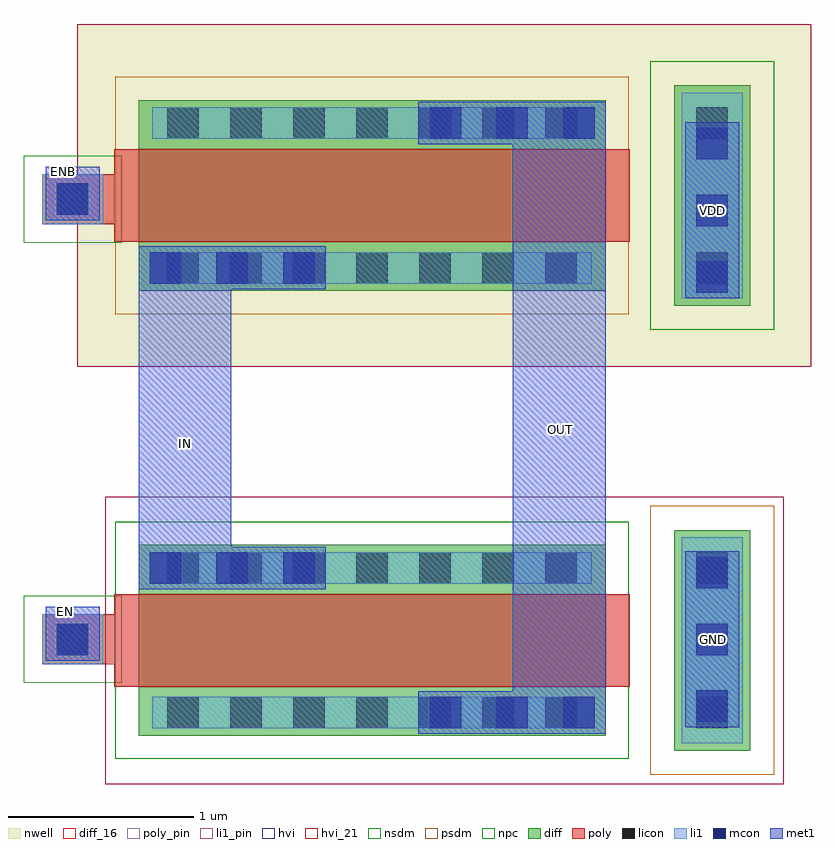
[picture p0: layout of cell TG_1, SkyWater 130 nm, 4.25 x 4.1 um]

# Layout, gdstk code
from math import pi, radians
import gdstk
lib = gdstk.Library(unit=1e-6, precision=1e-09)
def R(c, l, rs):  # rectangles x0, y0, x1, y1
    for r in rs: c.add(gdstk.rectangle(r[:2], r[2:], *l))
def A(c, l, x, y, w, h, nx, ny, dx, dy):  # array of equal rectangles
    R(c, l, [(x+i*dx, y+j*dy, x+i*dx+w, y+j*dy+h) for i in range(nx) for j in range(ny)])
nwell = (64, 20)
diff_16 = (65, 16)
diff = (65, 20)
poly_pin = (66, 16)
poly = (66, 20)
licon = (66, 44)
li1_pin = (67, 16)
li1 = (67, 20)
mcon = (67, 44)
met1 = (68, 20)
hvi = (75, 20)
hvi_21 = (75, 21)
nsdm = (93, 44)
psdm = (94, 20)
npc = (95, 20)

nmos_v5_cdns_71447679297 = lib.new_cell('nmos_v5_CDNS_714476792970')
R(nmos_v5_cdns_71447679297, diff_16, [(-0.265,0,0,2.52), (0.5,0,0.765,2.52)])
R(nmos_v5_cdns_71447679297, diff, [(-0.265,0,0.765,2.52)])
R(nmos_v5_cdns_71447679297, poly_pin, [(0,-0.13,0.5,0), (0,2.52,0.5,2.65)])
R(nmos_v5_cdns_71447679297, poly, [(0,-0.13,0.5,2.65)])
A(nmos_v5_cdns_71447679297, licon, -0.225, 0.155, 0.17, 0.17, 1, 7, 0, 0.34)
A(nmos_v5_cdns_71447679297, licon, 0.555, 0.155, 0.17, 0.17, 1, 7, 0, 0.34)
R(nmos_v5_cdns_71447679297, licon, [(-0.225,3.01,-0.055,3.18), (0.555,3.01,0.725,3.18)])
R(nmos_v5_cdns_71447679297, li1_pin, [(-0.305,2.93,0.805,3.26)])
R(nmos_v5_cdns_71447679297, hvi, [(-0.525,-0.18,1.025,3.48)])
R(nmos_v5_cdns_71447679297, hvi_21, [(-0.525,-0.18,1.025,3.48)])
R(nmos_v5_cdns_71447679297, nsdm, [(-0.39,-0.125,0.89,2.645)])
nmos_v5_cdns_71447679297.add(gdstk.FlexPath([(-0.345,3.095),(0.845,3.095)], 0.41, ends="flush", simple_path=True, layer=65, datatype=20))  # diff
nmos_v5_cdns_71447679297.add(gdstk.FlexPath([(0.64,0.075),(0.64,2.445)], 0.17, ends="flush", simple_path=True, layer=67, datatype=20))  # li1
nmos_v5_cdns_71447679297.add(gdstk.FlexPath([(-0.14,0.075),(-0.14,2.445)], 0.17, ends="flush", simple_path=True, layer=67, datatype=20))  # li1
nmos_v5_cdns_71447679297.add(gdstk.FlexPath([(-0.305,3.095),(0.805,3.095)], 0.33, ends="flush", simple_path=True, layer=67, datatype=20))  # li1
nmos_v5_cdns_71447679297.add(gdstk.FlexPath([(-0.475,3.095),(0.975,3.095)], 0.67, ends="flush", simple_path=True, layer=94, datatype=20))  # psdm
nmos_v5_cdns_71447679297.add(gdstk.Label('d', (0.632,1.26), layer=65, texttype=6))
nmos_v5_cdns_71447679297.add(gdstk.Label('s', (-0.133,1.26), layer=65, texttype=6))
nmos_v5_cdns_71447679297.add(gdstk.Label('g', (0.25,-0.065), layer=66, texttype=5))
nmos_v5_cdns_71447679297.add(gdstk.Label('g', (0.25,2.585), layer=66, texttype=5))
nmos_v5_cdns_71447679297.add(gdstk.Label('b', (0.25,3.095), layer=67, texttype=5))

pmos_v5_cdns_71447679297 = lib.new_cell('pmos_v5_CDNS_714476792971')
R(pmos_v5_cdns_71447679297, nwell, [(-0.675,-1.11,1.175,2.85)])
R(pmos_v5_cdns_71447679297, diff_16, [(-0.265,0,0,2.52), (0.5,0,0.765,2.52)])
R(pmos_v5_cdns_71447679297, diff, [(-0.265,0,0.765,2.52)])
R(pmos_v5_cdns_71447679297, poly_pin, [(0,-0.13,0.5,0), (0,2.52,0.5,2.65)])
R(pmos_v5_cdns_71447679297, poly, [(0,-0.13,0.5,2.65)])
A(pmos_v5_cdns_71447679297, licon, -0.225, 0.155, 0.17, 0.17, 1, 7, 0, 0.34)
A(pmos_v5_cdns_71447679297, licon, 0.555, 0.155, 0.17, 0.17, 1, 7, 0, 0.34)
R(pmos_v5_cdns_71447679297, licon, [(-0.225,-0.66,-0.055,-0.49), (0.555,-0.66,0.725,-0.49)])
R(pmos_v5_cdns_71447679297, li1_pin, [(-0.305,-0.74,0.805,-0.41)])
R(pmos_v5_cdns_71447679297, hvi, [(-0.675,-1.11,1.175,2.85)])
R(pmos_v5_cdns_71447679297, hvi_21, [(-0.675,-1.11,1.175,2.85)])
R(pmos_v5_cdns_71447679297, psdm, [(-0.39,-0.125,0.89,2.645)])
pmos_v5_cdns_71447679297.add(gdstk.FlexPath([(-0.345,-0.575),(0.845,-0.575)], 0.41, ends="flush", simple_path=True, layer=65, datatype=20))  # diff
pmos_v5_cdns_71447679297.add(gdstk.FlexPath([(0.64,0.075),(0.64,2.445)], 0.17, ends="flush", simple_path=True, layer=67, datatype=20))  # li1
pmos_v5_cdns_71447679297.add(gdstk.FlexPath([(-0.14,0.075),(-0.14,2.445)], 0.17, ends="flush", simple_path=True, layer=67, datatype=20))  # li1
pmos_v5_cdns_71447679297.add(gdstk.FlexPath([(-0.305,-0.575),(0.805,-0.575)], 0.33, ends="flush", simple_path=True, layer=67, datatype=20))  # li1
pmos_v5_cdns_71447679297.add(gdstk.FlexPath([(-0.475,-0.575),(0.975,-0.575)], 0.67, ends="flush", simple_path=True, layer=93, datatype=44))  # nsdm
pmos_v5_cdns_71447679297.add(gdstk.Label('d', (0.632,1.26), layer=65, texttype=6))
pmos_v5_cdns_71447679297.add(gdstk.Label('s', (-0.133,1.26), layer=65, texttype=6))
pmos_v5_cdns_71447679297.add(gdstk.Label('g', (0.25,-0.065), layer=66, texttype=5))
pmos_v5_cdns_71447679297.add(gdstk.Label('g', (0.25,2.585), layer=66, texttype=5))
pmos_v5_cdns_71447679297.add(gdstk.Label('b', (0.25,-0.575), layer=67, texttype=5))

pyl1_cdns_714476792970 = lib.new_cell('PYL1_CDNS_714476792970')
R(pyl1_cdns_714476792970, poly, [(-0.165,-0.135,0.165,0.135)])
R(pyl1_cdns_714476792970, licon, [(-0.085,-0.085,0.085,0.085)])
R(pyl1_cdns_714476792970, li1, [(-0.165,-0.135,0.165,0.135)])
R(pyl1_cdns_714476792970, npc, [(-0.265,-0.235,0.265,0.235)])

l1m1_cdns_714476792971 = lib.new_cell('L1M1_CDNS_714476792971')
R(l1m1_cdns_714476792971, li1, [(-0.085,-0.085,0.085,0.085)])
R(l1m1_cdns_714476792971, mcon, [(-0.085,-0.085,0.085,0.085)])
R(l1m1_cdns_714476792971, met1, [(-0.145,-0.115,0.145,0.115)])

l1m1_cdns_714476792972 = lib.new_cell('L1M1_CDNS_714476792972')
R(l1m1_cdns_714476792972, li1, [(-0.445,-0.085,0.445,0.085)])
A(l1m1_cdns_714476792972, mcon, -0.445, -0.085, 0.17, 0.17, 3, 1, 0.36, 0)
R(l1m1_cdns_714476792972, met1, [(-0.505,-0.115,0.505,0.115)])

l1m1_cdns_714476792973 = lib.new_cell('L1M1_CDNS_714476792973')
R(l1m1_cdns_714476792973, li1, [(-0.085,-0.445,0.085,0.445)])
A(l1m1_cdns_714476792973, mcon, -0.085, -0.445, 0.17, 0.17, 1, 3, 0, 0.36)
R(l1m1_cdns_714476792973, met1, [(-0.145,-0.475,0.145,0.475)])

tg_1 = lib.new_cell('TG_1')
R(tg_1, poly, [(0.565,0.8,0.625,1.07), (0.565,3.175,0.625,3.445)])
R(tg_1, met1, [(2.775,0.655,3.275,3.605), (0.255,1.05,0.545,1.11), (0.755,1.43,1.255,2.825), (0.755,1.765,1.255,2.22), (2.775,1.805,3.275,2.24), (0.255,3.425,0.545,3.485)])
tg_1.add(gdstk.Reference(nmos_v5_cdns_71447679297, (0.755,0.68), rotation=pi/2, x_reflection=True))
tg_1.add(gdstk.Reference(pmos_v5_cdns_71447679297, (3.275,3.08), rotation=pi/2))
tg_1.add(gdstk.Reference(pyl1_cdns_714476792970, (0.4,3.31)))
tg_1.add(gdstk.Reference(pyl1_cdns_714476792970, (0.4,0.935), rotation=pi, x_reflection=True))
tg_1.add(gdstk.Reference(l1m1_cdns_714476792971, (0.4,3.31)))
tg_1.add(gdstk.Reference(l1m1_cdns_714476792971, (0.4,0.935), rotation=pi, x_reflection=True))
tg_1.add(gdstk.Reference(l1m1_cdns_714476792972, (2.77,3.72)))
tg_1.add(gdstk.Reference(l1m1_cdns_714476792972, (1.26,2.94)))
tg_1.add(gdstk.Reference(l1m1_cdns_714476792972, (1.26,1.32)))
tg_1.add(gdstk.Reference(l1m1_cdns_714476792972, (2.77,0.54)))
tg_1.add(gdstk.Reference(l1m1_cdns_714476792973, (3.85,3.25)))
tg_1.add(gdstk.Reference(l1m1_cdns_714476792973, (3.85,0.935), rotation=pi, x_reflection=True))
tg_1.add(gdstk.Label('OUT', (3.03,2.07), layer=68, texttype=5))
tg_1.add(gdstk.Label('IN', (1.01,1.99), layer=68, texttype=5))
tg_1.add(gdstk.Label('VDD', (3.85,3.25), layer=68, texttype=5))
tg_1.add(gdstk.Label('GND', (3.855,0.935), layer=68, texttype=5))
tg_1.add(gdstk.Label('ENB', (0.35,3.46), layer=68, texttype=5))
tg_1.add(gdstk.Label('EN', (0.36,1.085), layer=68, texttype=5))

lib.write_gds('TG_1.gds')
